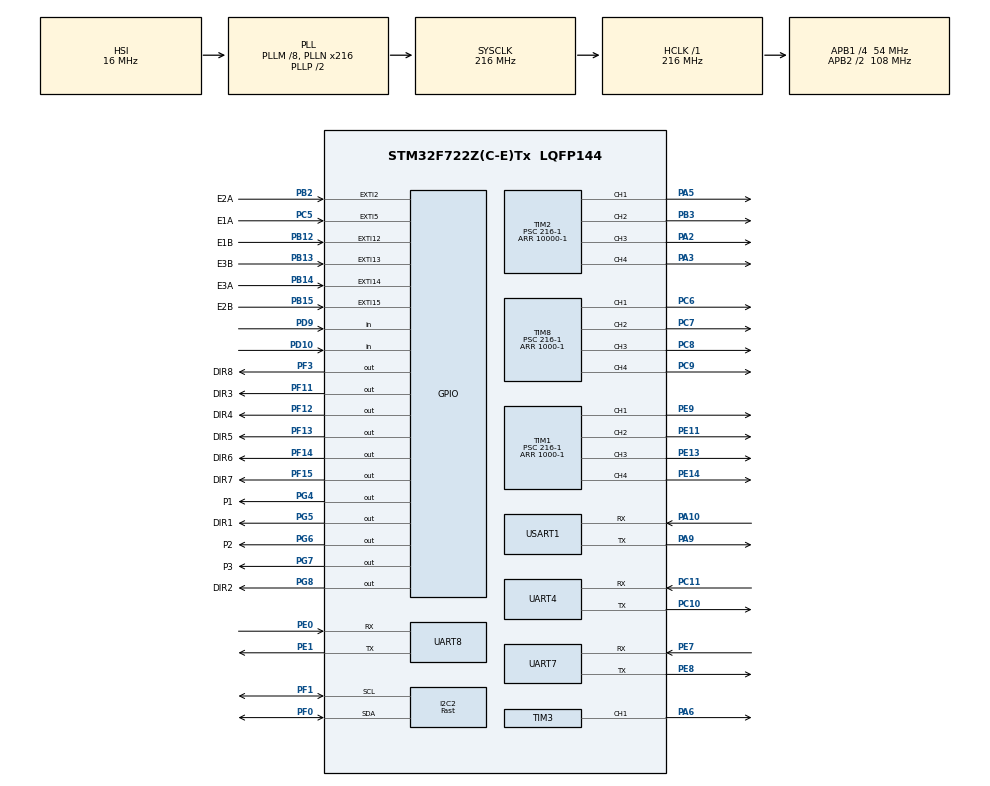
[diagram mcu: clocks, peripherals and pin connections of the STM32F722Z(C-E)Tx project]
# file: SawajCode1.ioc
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I2C2.I2C_Speed_Mode=I2C_Fast
I2C2.Timing=0x6000030D
Mcu.Family=STM32F7
Mcu.Name=STM32F722Z(C-E)Tx
Mcu.Package=LQFP144
NVIC.EXTI15_10_IRQn=true\:0\:0\:false\:false\:true\:true\:true\:true
NVIC.EXTI2_IRQn=true\:0\:0\:false\:false\:true\:true\:true\:true
NVIC.EXTI9_5_IRQn=true\:0\:0\:false\:false\:true\:true\:true\:true
NVIC.PriorityGroup=NVIC_PRIORITYGROUP_4
NVIC.UART4_IRQn=true\:0\:0\:false\:false\:true\:true\:true\:true
NVIC.UART7_IRQn=true\:0\:0\:false\:false\:true\:true\:true\:true
NVIC.UART8_IRQn=true\:0\:0\:false\:false\:true\:true\:true\:true
NVIC.USART1_IRQn=true\:0\:0\:false\:false\:true\:true\:true\:true
PA10.Mode=Asynchronous
PA10.Signal=USART1_RX
PA2.Signal=S_TIM2_CH3
PA3.Signal=S_TIM2_CH4
PA5.Signal=S_TIM2_CH1_ETR
PA6.Signal=S_TIM3_CH1
PA9.Mode=Asynchronous
PA9.Signal=USART1_TX
PB12.GPIO_Label=E1B
PB12.GPIO_ModeDefaultEXTI=GPIO_MODE_IT_RISING_FALLING
PB12.GPIO_PuPd=GPIO_PULLUP
PB12.Signal=GPXTI12
PB13.GPIO_Label=E3B
PB13.GPIO_ModeDefaultEXTI=GPIO_MODE_IT_RISING_FALLING
PB13.GPIO_PuPd=GPIO_PULLUP
PB13.Signal=GPXTI13
PB14.GPIO_Label=E3A
PB14.GPIO_ModeDefaultEXTI=GPIO_MODE_IT_RISING_FALLING
PB14.GPIO_PuPd=GPIO_PULLUP
PB14.Signal=GPXTI14
PB15.GPIO_Label=E2B
PB15.GPIO_ModeDefaultEXTI=GPIO_MODE_IT_RISING_FALLING
PB15.GPIO_PuPd=GPIO_PULLUP
PB15.Signal=GPXTI15
PB2.GPIO_Label=E2A
PB2.GPIO_ModeDefaultEXTI=GPIO_MODE_IT_RISING_FALLING
PB2.GPIO_PuPd=GPIO_PULLUP
PB2.Signal=GPXTI2
PB3.Signal=S_TIM2_CH2
PC10.Mode=Asynchronous
PC10.Signal=UART4_TX
PC11.Mode=Asynchronous
PC11.Signal=UART4_RX
PC5.GPIO_Label=E1A
PC5.GPIO_ModeDefaultEXTI=GPIO_MODE_IT_RISING_FALLING
PC5.GPIO_PuPd=GPIO_PULLUP
PC5.Signal=GPXTI5
PC6.Signal=S_TIM8_CH1
PC7.Signal=S_TIM8_CH2
PC8.Signal=S_TIM8_CH3
PC9.Signal=S_TIM8_CH4
PD10.Signal=GPIO_Input
PD9.Signal=GPIO_Input
PE0.Mode=Asynchronous
PE0.Signal=UART8_RX
PE1.Mode=Asynchronous
PE1.Signal=UART8_TX
PE11.Signal=S_TIM1_CH2
PE13.Signal=S_TIM1_CH3
PE14.Signal=S_TIM1_CH4
PE7.Mode=Asynchronous
PE7.Signal=UART7_RX
PE8.Mode=Asynchronous
PE8.Signal=UART7_TX
PE9.Signal=S_TIM1_CH1
PF0.Mode=I2C
PF0.Signal=I2C2_SDA
PF1.Mode=I2C
PF1.Signal=I2C2_SCL
PF11.GPIO_Label=DIR3
PF11.Signal=GPIO_Output
PF12.GPIO_Label=DIR4
PF12.Signal=GPIO_Output
PF13.GPIO_Label=DIR5
PF13.Signal=GPIO_Output
PF14.GPIO_Label=DIR6
PF14.Signal=GPIO_Output
PF15.GPIO_Label=DIR7
PF15.Signal=GPIO_Output
PF3.GPIO_Label=DIR8
PF3.Signal=GPIO_Output
PG4.GPIO_Label=P1
PG4.Signal=GPIO_Output
PG5.GPIO_Label=DIR1
PG5.Signal=GPIO_Output
PG6.GPIO_Label=P2
PG6.Signal=GPIO_Output
PG7.GPIO_Label=P3
PG7.Signal=GPIO_Output
PG8.GPIO_Label=DIR2
PG8.Signal=GPIO_Output
ProjectManager.HeapSize=0x200
ProjectManager.StackSize=0x400
ProjectManager.TargetToolchain=STM32CubeIDE
RCC.48MHZClocksFreq_Value=24000000
RCC.AHBFreq_Value=216000000
RCC.APB1CLKDivider=RCC_HCLK_DIV4
RCC.APB1Freq_Value=54000000
RCC.APB1TimFreq_Value=108000000
RCC.APB2CLKDivider=RCC_HCLK_DIV2
RCC.APB2Freq_Value=108000000
RCC.APB2TimFreq_Value=216000000
RCC.CortexFreq_Value=216000000
RCC.HCLKFreq_Value=216000000
RCC.HSE_VALUE=8000000
RCC.HSI_VALUE=16000000
RCC.LSE_VALUE=32768
RCC.PLLM=8
RCC.PLLMUL=RCC_PLL_MUL9
RCC.PLLN=216
RCC.PLLQ=9
RCC.PRESCALERUSB=RCC_USBCLKSOURCE_PLL_DIV1_5
RCC.SYSCLKFreq_VALUE=216000000
RCC.SYSCLKSource=RCC_SYSCLKSOURCE_PLLCLK
RCC.SYSCLKSourceVirtual=RCC_SYSCLKSOURCE_PLLCLK
RCC.USBFreq_Value=48000000
RCC.VCOOutputFreq_Value=432000000
SH.S_TIM1_CH1.0=TIM1_CH1,PWM Generation1 CH1
SH.S_TIM1_CH2.0=TIM1_CH2,PWM Generation2 CH2
SH.S_TIM1_CH3.0=TIM1_CH3,PWM Generation3 CH3
SH.S_TIM1_CH4.0=TIM1_CH4,PWM Generation4 CH4
SH.S_TIM2_CH1_ETR.0=TIM2_CH1,PWM Generation1 CH1
SH.S_TIM2_CH2.0=TIM2_CH2,PWM Generation2 CH2
SH.S_TIM2_CH3.0=TIM2_CH3,PWM Generation3 CH3
SH.S_TIM2_CH4.0=TIM2_CH4,PWM Generation4 CH4
SH.S_TIM3_CH1.0=TIM3_CH1,PWM Generation1 CH1
SH.S_TIM8_CH1.0=TIM8_CH1,PWM Generation1 CH1
SH.S_TIM8_CH2.0=TIM8_CH2,PWM Generation2 CH2
SH.S_TIM8_CH3.0=TIM8_CH3,PWM Generation3 CH3
SH.S_TIM8_CH4.0=TIM8_CH4,PWM Generation4 CH4
TIM1.Channel-PWM\ Generation1\ CH1=TIM_CHANNEL_1
TIM1.Channel-PWM\ Generation2\ CH2=TIM_CHANNEL_2
TIM1.Channel-PWM\ Generation3\ CH3=TIM_CHANNEL_3
TIM1.Channel-PWM\ Generation4\ CH4=TIM_CHANNEL_4
TIM1.Period=1000-1
TIM1.Prescaler=216-1
TIM2.Channel-PWM\ Generation1\ CH1=TIM_CHANNEL_1
TIM2.Channel-PWM\ Generation2\ CH2=TIM_CHANNEL_2
TIM2.Channel-PWM\ Generation3\ CH3=TIM_CHANNEL_3
TIM2.Channel-PWM\ Generation4\ CH4=TIM_CHANNEL_4
TIM2.Period=10000-1
TIM2.Prescaler=216-1
TIM3.Channel-PWM\ Generation1\ CH1=TIM_CHANNEL_1
TIM3.Period=10000-1
TIM3.Prescaler=216-1
TIM8.Channel-PWM\ Generation1\ CH1=TIM_CHANNEL_1
TIM8.Channel-PWM\ Generation2\ CH2=TIM_CHANNEL_2
TIM8.Channel-PWM\ Generation3\ CH3=TIM_CHANNEL_3
TIM8.Channel-PWM\ Generation4\ CH4=TIM_CHANNEL_4
TIM8.Period=1000-1
TIM8.Prescaler=216-1
USART1.VirtualMode-Asynchronous=VM_ASYNC
VP_TIM1_VS_ClockSourceINT.Mode=Internal
VP_TIM2_VS_ClockSourceINT.Mode=Internal
VP_TIM3_VS_ClockSourceINT.Mode=Internal
VP_TIM8_VS_ClockSourceINT.Mode=Internal
board=NUCLEO-F722ZE

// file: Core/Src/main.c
/* USER CODE BEGIN Header */
/**
  ******************************************************************************
  * @file           : main.c
  * @brief          : Main program body
  ******************************************************************************
  * @attention
  *
  * Copyright (c) 2025 STMicroelectronics.
  * All rights reserved.
  *
  * This software is licensed under terms that can be found in the LICENSE file
  * in the root directory of this software component.
  * If no LICENSE file comes with this software, it is provided AS-IS.
  *
  ******************************************************************************
  */
/* USER CODE END Header */
#include "main.h"

/* USER CODE BEGIN Includes */
#include "Cytron.h"
#include "WheelCalculation.h"
#include "String.h"
#include "stdlib.h"
#include <math.h>
#include <bno055_stm32.h>
#include"servo_driver.h"
/* USER CODE END Includes */

/* USER CODE BEGIN PTD */
#define HPS166_CMD_START_RANGING  {0x0A, 0x24, 0x00, 0x00, 0x00, 0x00, 0x00, 0x00, 0x0F, 0x72}
#define HPS166_RESPONSE_SIZE       15
#define RESPONSE_HEADER            0x0A

#define MAX_INTEGRAL 3.0f  // Example threshold

/* USER CODE END PTD */

I2C_HandleTypeDef hi2c2;

TIM_HandleTypeDef htim1;
TIM_HandleTypeDef htim2;
TIM_HandleTypeDef htim3;
TIM_HandleTypeDef htim8;

UART_HandleTypeDef huart4;
UART_HandleTypeDef huart7;
UART_HandleTypeDef huart8;
UART_HandleTypeDef huart1;

/* USER CODE BEGIN PV */
float heading;
float raw_heading;
uint8_t RX_BUFFER[32];
uint16_t buf_size = 0;
int pot1, pot2, pot3, but1, but2;
int dirx, diry, passbtn, shootbtn, basketbtn, dribbleturnbtn;
int m1,m2,m3;
float target_angle = 0;
float current_angle = 0;
float error, correction,r1;
int stopSignalReceived = 0;
int fatakflag=0;
float distance_from_basket = 0;
float lower_motor_speed = 0;
int lower_ms = 0;

float deadZone = 2;

float degree = 0.0;

// === IMU Control ===
bool imu_initialized = false;
float initial_heading_offset = 0.0; // To store starting heading offset
float target_heading = 0.0;          // Target heading relative to offset
float Kp = 0.2, Ki = 0.0002, Kd = 0.014;                     // Proportional gain

double dx, dy, angle_calc;
int basket_x = 4000; // Replace with actual values
int basket_y = 13770;

uint8_t MSG[35] = {'\0'};
int iX,iY,checkValue;
int up=0;
//int iX,iY;

uint8_t response1[HPS166_RESPONSE_SIZE], response2[HPS166_RESPONSE_SIZE], response3[HPS166_RESPONSE_SIZE];
volatile uint8_t data_ready1 = 0, data_ready2 = 0, data_ready3 = 0;
uint16_t distance_mm1, distance_mm2, distance_mm3;
uint16_t Tdistance_mm1, Tdistance_mm2, Tdistance_mm3;
float distance_meters1, distance_meters2, distance_meters3;
int toggleState = 0;          // Current toggle state
int previousToggleState = 0;  // Previous toggle state
uint32_t lastUpdate;

// Define stateFlags for different conditions
bool stateFlagPass = false;
bool stateFlagBasket = false;

// Variables to lock the distance values
int locked_distance_mm3 = 0;
int locked_distance_mm2 = 0;

volatile int32_t M1_count = 0;
volatile uint8_t M1_lastEncoded = 0;
volatile int32_t M2_count = 0;
volatile uint8_t M2_lastEncoded = 0;
volatile int32_t M3_count = 0;
volatile uint8_t M3_lastEncoded = 0;

int32_t last1, last2, last3;
#define PI 3.141592653589793
#define TICKS_PER_REV 2400
#define WHEEL_DIAMETER_M 0.152
#define DISTANCE_PER_TICK ((PI * WHEEL_DIAMETER_M) / TICKS_PER_REV)
#define L 0.316 // distance from robot center to wheel in meters

float posX = 0.0, posY = 0.0, theta2 = 0.0;
long last_m1 = 0, last_m2 = 0, last_m3 = 0;

int broadcastAngle = 0;

/* USER CODE END PV */

void SystemClock_Config(void);
static void MX_GPIO_Init(void);
static void MX_TIM1_Init(void);
static void MX_UART4_Init(void);
static void MX_UART7_Init(void);
static void MX_UART8_Init(void);
static void MX_USART1_UART_Init(void);
static void MX_I2C2_Init(void);
static void MX_TIM8_Init(void);
static void MX_TIM2_Init(void);
static void MX_TIM3_Init(void);
/* USER CODE BEGIN PFP */
void parseData(uint8_t *buffer, uint16_t size);
void sendContinuousRangingCommand(UART_HandleTypeDef *huart);
void processResponse(UART_HandleTypeDef *huart, uint8_t *response, uint16_t *distance_mm, float *distance_meters);
void restartReception(UART_HandleTypeDef *huart, uint8_t *response);
float get_yaw(void);
/* USER CODE END PFP */

/* USER CODE BEGIN 0 */

void sendContinuousRangingCommand(UART_HandleTypeDef *huart) {
    uint8_t startRangingCmd[] = HPS166_CMD_START_RANGING;
    HAL_UART_Transmit(huart, startRangingCmd, sizeof(startRangingCmd), HAL_MAX_DELAY);
}

void HAL_UARTEx_RxEventCallback(UART_HandleTypeDef *huart, uint16_t Size) {
	if (huart == &huart1 && Size == HPS166_RESPONSE_SIZE && response1[0] == RESPONSE_HEADER) {
	        data_ready1 = 1;
	        processResponse(huart, response1, &distance_mm1, &distance_meters1);
	        data_ready1 = 0;
	        restartReception(&huart1, response1);
	    } else if (huart == &huart4 && Size == HPS166_RESPONSE_SIZE && response2[0] == RESPONSE_HEADER) {
	        data_ready2 = 1;
	        processResponse(huart, response2, &distance_mm2, &distance_meters2);
	        data_ready2 = 0;
	        restartReception(&huart4, response2);
	    } else if (huart == &huart7 && Size == HPS166_RESPONSE_SIZE && response3[0] == RESPONSE_HEADER) {
	        data_ready3 = 1;
	        processResponse(huart, response3, &distance_mm3, &distance_meters3);
	        data_ready3 = 0;
	        restartReception(&huart7, response3);
	    } else{
	    	buf_size = Size;
	    	RX_BUFFER[buf_size] = '\0';
	    	parseData(RX_BUFFER, buf_size);
	    	HAL_UARTEx_ReceiveToIdle_IT(huart, RX_BUFFER, 32);
	    }
}

void parseData(uint8_t *buffer, uint16_t size)
{
	char *token;
	int values[6]; // Array to hold parsed integers
	int index = 0;

	// Tokenize the buffer using comma as a delimiter
	token = strtok((char *)buffer, ",");
	while (token != NULL && index < 6)
	{
		values[index++] = atoi(token);
		token = strtok(NULL, ",");
	}

	// Assign values to corresponding variables (ensure the order matches)
	if (index >= 6) // Ensure enough data is received
	{
		dirx = values[0];
		diry = values[1];
		basketbtn = values[2];
		shootbtn = values[3];
		passbtn = values[4];
		dribbleturnbtn = values[5];
//		xtraRotate = values[6];
//		broadcastAngle = values[7];

	}
}

float get_yaw(void)
{
    bno055_vector_t euler = bno055_getVectorEuler();
    float yaw = euler.x;

    if (yaw > 180) yaw -= 360;
    if (yaw < -180) yaw += 360;
    return yaw;
}

void processResponse(UART_HandleTypeDef *huart, uint8_t *response, uint16_t *distance_mm, float *distance_meters) {
    *distance_mm = (response[5] << 8) | response[6];
    *distance_meters = *distance_mm / 1000.0;
}

void restartReception(UART_HandleTypeDef *huart, uint8_t *response) {
    HAL_UARTEx_ReceiveToIdle_IT(huart, response, HPS166_RESPONSE_SIZE);
}

/* USER CODE END 0 */

int main(void)
{

  /* MCU Configuration--------------------------------------------------------*/

  /* Reset of all peripherals, Initializes the Flash interface and the Systick. */
  HAL_Init();

  /* Configure the system clock */
  SystemClock_Config();

  /* Initialize all configured peripherals */
  MX_GPIO_Init();
  MX_TIM1_Init();
  MX_UART4_Init();
  MX_UART7_Init();
  MX_UART8_Init();
  MX_USART1_UART_Init();
  MX_I2C2_Init();
  MX_TIM8_Init();
  MX_TIM2_Init();
  MX_TIM3_Init();
  /* USER CODE BEGIN 2 */
  HAL_UARTEx_ReceiveToIdle_IT(&huart8, RX_BUFFER, 32);

  restartReception(&huart1, response1);
  restartReception(&huart4, response2);
  restartReception(&huart7, response3);

  sendContinuousRangingCommand(&huart1);
  sendContinuousRangingCommand(&huart4);
  sendContinuousRangingCommand(&huart7);

  bno055_assignI2C(&hi2c2);
  bno055_setup();
  bno055_setOperationModeNDOF();

  CytronMotor_t motor1;
  CytronMotor_t motor2;
  CytronMotor_t motor3;
  CytronMotor_t motor4;

  CytronMotor_t shooterM1;
  CytronMotor_t shooterM2;

  CytronMotor_t tandomM1;
  CytronMotor_t tandomM2;

  CytronMotor_Init(&motor1, &htim8, TIM_CHANNEL_4, GPIOF, GPIO_PIN_14);
  CytronMotor_Init(&motor2, &htim8, TIM_CHANNEL_3, GPIOF, GPIO_PIN_3);
  CytronMotor_Init(&motor3, &htim8, TIM_CHANNEL_1, GPIOF, GPIO_PIN_15);
  CytronMotor_Init(&motor4, &htim8, TIM_CHANNEL_2, GPIOF, GPIO_PIN_13);

  CytronMotor_Init(&shooterM1, &htim1, TIM_CHANNEL_4, GPIOF, GPIO_PIN_11);
  CytronMotor_Init(&shooterM2, &htim1, TIM_CHANNEL_1, GPIOF, GPIO_PIN_12);

  CytronMotor_Init(&tandomM1, &htim1, TIM_CHANNEL_3, GPIOG, GPIO_PIN_5);
  CytronMotor_Init(&tandomM2, &htim1, TIM_CHANNEL_2, GPIOG, GPIO_PIN_8);

  Servo_t fatak;
  Servo_Init(&fatak, &htim2, TIM_CHANNEL_1);

  /* USER CODE END 2 */

  /* Infinite loop */
  /* USER CODE BEGIN WHILE */
  initial_heading_offset = get_yaw(); // Set target angle as current angle
  target_heading = 0.0; // start at zero relative heading
  degree = target_heading;
  imu_initialized = true;

//  uint32_t lastUpdate = 0;

//  CytronMotor_Speed(&shooterM1, -800);
//  CytronMotor_Speed(&shooterM2, 960);
//  HAL_Delay(3000);
//  CytronMotor_Speed(&shooterM1, 0);
//  CytronMotor_Speed(&shooterM2, 0);
Servo_SetAngle(&fatak, 90);   // Move to 90°
  while (1)
  {

	HAL_Delay(100);  // or timer-based update

  	sprintf(MSG,"%d,%d,%d\n",distance_mm3,7600,broadcastAngle);
 	HAL_UART_Transmit(&huart8, MSG, sizeof(MSG), 100);

	uint32_t currentTick = HAL_GetTick();
      if (currentTick - lastUpdate >= 100)
      {
        lastUpdate = currentTick;

	    // Check for emergency stop signal from the controller
//        if (shootbtn) // Replace with actual function to detect stop signal
//        {
//            stopSignalReceived = 1;
//        }
//
//        if (stopSignalReceived)
//        {
//        	m1=0, m2=0, m3=0;
//            // Set all motor speeds to zero
//            CytronMotor_Speed(&motor1, m1);
//            CytronMotor_Speed(&motor2, m2);
//            CytronMotor_Speed(&motor3, m3);
//            continue; // Skip further processing
//        }

	        raw_heading = get_yaw();
	        float current_heading = raw_heading - initial_heading_offset;

	        // Normalize heading to [-180, 180]
	        if (current_heading > 180) current_heading -= 360;
	        if (current_heading < -180) current_heading += 360;
	        broadcastAngle  = target_heading;
	        if ((passbtn > 1450 && passbtn <= 1550) && (dribbleturnbtn < 1550 && dribbleturnbtn > 1450) && (basketbtn == 0)) {
	            target_heading = 0.0;
	            stateFlagPass = false;
	            stateFlagBasket = false;
//	      	    Servo_SetAngle(&fatak, 90);   // Move to 90°

	            if(up==1){
//		            CytronMotor_Speed(&tandomM1,-400);
//		            CytronMotor_Speed(&tandomM2,-400);
//		            HAL_Delay(500);
//		            CytronMotor_Speed(&tandomM1,0);
//		            CytronMotor_Speed(&tandomM2,0);
		            up=0;
	            }

	        } else if ((passbtn < 1450) && (basketbtn == 0)) {
	            // Check if the stateFlag is false
	            if (!stateFlagPass) {
	                // Lock the variable values
	                locked_distance_mm3 = distance_mm3;	//X lidar
	                locked_distance_mm2 = distance_mm2; //Y lidar
	                stateFlagPass = true;
	            }
	            up=1;
//	            CytronMotor_Speed(&tandomM1,800);
//	            CytronMotor_Speed(&tandomM2,800);
//	            HAL_Delay(700);
//	            CytronMotor_Speed(&tandomM1,50);
//	            CytronMotor_Speed(&tandomM2,50);

	        } else if ((passbtn > 1550) && (basketbtn == 0)) {
	            // Check if the stateFlag is false
	            if (!stateFlagPass) {
	                // Lock the variable values
	                locked_distance_mm3 = distance_mm3;
	                locked_distance_mm2 = distance_mm2;
	                stateFlagPass = true;
	            }
//	            target_heading = broadcastAngle;

	        } else if (basketbtn ) {
	            // Check if the stateFlag is false
	            if (!stateFlagBasket) {
	                // Lock the variable values
	                locked_distance_mm3 = distance_mm3;
	                locked_distance_mm2 = distance_mm2;
	                stateFlagBasket = true;
	            }

	            // Calculate heading using locked values
	            int dx = basket_x - locked_distance_mm3 + 100 ;
	            int dy = basket_y - 7800;
	            angle_calc = atan2(dx, dy) * 180.0 / M_PI;
	            angle_calc = fmod((angle_calc + 360.0), 360.0);
	            target_heading = angle_calc - 5;
	            distance_from_basket = sqrt((dx*dx) +(dy*dy));
		        broadcastAngle  = target_heading;
	        }
//	        else {
//
//	        }

	        if(shootbtn==1 )
	        {
	          lower_motor_speed = 1000 * (1 - pow(M_E, (-0.39 * (distance_from_basket / 1000))));
//	       	  lower_motor_speed = 1000 * (1 - pow(M_E, (-0.475 * 6))); //0.48 for 3-4 mtrs
	          lower_ms = (int)lower_motor_speed;
	          CytronMotor_Speed(&shooterM1, -lower_ms);
	          CytronMotor_Speed(&shooterM2, (0.82*lower_ms));
//	        	CytronMotor_Speed(&shooterM1,-1000);
//				CytronMotor_Speed(&shooterM2,1000);
	          HAL_Delay(4000);
	          if(fatakflag==0)
	          {
	    	  Servo_SetAngle(&fatak, 32);
	    	  fatakflag=1;
	          }

	        }
	        else if(shootbtn==0)
	        {
		          CytronMotor_Speed(&shooterM1, 0);
		          CytronMotor_Speed(&shooterM2, 0);
		          Servo_SetAngle(&fatak, 90);
		          fatakflag=0;
	        }
	        if((dribbleturnbtn >1800 || dribbleturnbtn < 1400) && (passbtn>=1450 && passbtn<=1550) )
	        {
	        	target_heading = 90.00;
	        }
	          float error = target_heading - current_heading;
	          if (error > 180) error -= 360;
	          if (error < -180) error += 360;
	          // Integral component
	          static float integral = 0;  // Retain value between iterations
	                  // Accumulate error over time
	          static float previous_error = 0;
	          static uint32_t lastPIDUpdate = 0;

	          uint32_t currentTime = HAL_GetTick();
	          float dt = (currentTime - lastPIDUpdate)/ 1000.0f;
	          lastPIDUpdate = currentTime;
	          float derivative = (error - previous_error) / dt;
	          previous_error = error;

	          integral += error*dt;

	          // Proportional and integral control
	          r1 = Kp * error + Ki * integral + Kd* derivative;

	          // Optional: Anti-windup for integral component
	          if (integral > MAX_INTEGRAL) integral = MAX_INTEGRAL;
	          if (integral < -MAX_INTEGRAL) integral = -MAX_INTEGRAL;
	          degree = -target_heading;

	        calculateWheelSpeeds(dirx, diry, &m1, &m2, &m3, &r1, &degree);
	        CytronMotor_Speed(&motor1, m1);
	        CytronMotor_Speed(&motor2, m2);
	        CytronMotor_Speed(&motor3, m3);
	      }
    /* USER CODE END WHILE */

  }
}

void SystemClock_Config(void)
{
  RCC_OscInitTypeDef RCC_OscInitStruct = {0};
  RCC_ClkInitTypeDef RCC_ClkInitStruct = {0};

  /** Configure the main internal regulator output voltage
  */
  __HAL_RCC_PWR_CLK_ENABLE();
  __HAL_PWR_VOLTAGESCALING_CONFIG(PWR_REGULATOR_VOLTAGE_SCALE1);

  /** Initializes the RCC Oscillators according to the specified parameters
  * in the RCC_OscInitTypeDef structure.
  */
  RCC_OscInitStruct.OscillatorType = RCC_OSCILLATORTYPE_HSI;
  RCC_OscInitStruct.HSIState = RCC_HSI_ON;
  RCC_OscInitStruct.HSICalibrationValue = RCC_HSICALIBRATION_DEFAULT;
  RCC_OscInitStruct.PLL.PLLState = RCC_PLL_ON;
  RCC_OscInitStruct.PLL.PLLSource = RCC_PLLSOURCE_HSI;
  RCC_OscInitStruct.PLL.PLLM = 8;
  RCC_OscInitStruct.PLL.PLLN = 216;
  RCC_OscInitStruct.PLL.PLLP = RCC_PLLP_DIV2;
  RCC_OscInitStruct.PLL.PLLQ = 9;
  if (HAL_RCC_OscConfig(&RCC_OscInitStruct) != HAL_OK)
  {
    Error_Handler();
  }

  /** Activate the Over-Drive mode
  */
  if (HAL_PWREx_EnableOverDrive() != HAL_OK)
  {
    Error_Handler();
  }

  /** Initializes the CPU, AHB and APB buses clocks
  */
  RCC_ClkInitStruct.ClockType = RCC_CLOCKTYPE_HCLK|RCC_CLOCKTYPE_SYSCLK
                              |RCC_CLOCKTYPE_PCLK1|RCC_CLOCKTYPE_PCLK2;
  RCC_ClkInitStruct.SYSCLKSource = RCC_SYSCLKSOURCE_PLLCLK;
  RCC_ClkInitStruct.AHBCLKDivider = RCC_SYSCLK_DIV1;
  RCC_ClkInitStruct.APB1CLKDivider = RCC_HCLK_DIV4;
  RCC_ClkInitStruct.APB2CLKDivider = RCC_HCLK_DIV2;

  if (HAL_RCC_ClockConfig(&RCC_ClkInitStruct, FLASH_LATENCY_7) != HAL_OK)
  {
    Error_Handler();
  }
}

static void MX_I2C2_Init(void)
{

  hi2c2.Instance = I2C2;
  hi2c2.Init.Timing = 0x6000030D;
  hi2c2.Init.OwnAddress1 = 0;
  hi2c2.Init.AddressingMode = I2C_ADDRESSINGMODE_7BIT;
  hi2c2.Init.DualAddressMode = I2C_DUALADDRESS_DISABLE;
  hi2c2.Init.OwnAddress2 = 0;
  hi2c2.Init.OwnAddress2Masks = I2C_OA2_NOMASK;
  hi2c2.Init.GeneralCallMode = I2C_GENERALCALL_DISABLE;
  hi2c2.Init.NoStretchMode = I2C_NOSTRETCH_DISABLE;
  if (HAL_I2C_Init(&hi2c2) != HAL_OK)
  {
    Error_Handler();
  }

  /** Configure Analogue filter
  */
  if (HAL_I2CEx_ConfigAnalogFilter(&hi2c2, I2C_ANALOGFILTER_ENABLE) != HAL_OK)
  {
    Error_Handler();
  }

  /** Configure Digital filter
  */
  if (HAL_I2CEx_ConfigDigitalFilter(&hi2c2, 0) != HAL_OK)
  {
    Error_Handler();
  }

}

static void MX_TIM1_Init(void)
{

  TIM_ClockConfigTypeDef sClockSourceConfig = {0};
  TIM_MasterConfigTypeDef sMasterConfig = {0};
  TIM_OC_InitTypeDef sConfigOC = {0};
  TIM_BreakDeadTimeConfigTypeDef sBreakDeadTimeConfig = {0};

  htim1.Instance = TIM1;
  htim1.Init.Prescaler = 216-1;
  htim1.Init.CounterMode = TIM_COUNTERMODE_UP;
  htim1.Init.Period = 1000-1;
  htim1.Init.ClockDivision = TIM_CLOCKDIVISION_DIV1;
  htim1.Init.RepetitionCounter = 0;
  htim1.Init.AutoReloadPreload = TIM_AUTORELOAD_PRELOAD_DISABLE;
  if (HAL_TIM_Base_Init(&htim1) != HAL_OK)
  {
    Error_Handler();
  }
  sClockSourceConfig.ClockSource = TIM_CLOCKSOURCE_INTERNAL;
  if (HAL_TIM_ConfigClockSource(&htim1, &sClockSourceConfig) != HAL_OK)
  {
    Error_Handler();
  }
  if (HAL_TIM_PWM_Init(&htim1) != HAL_OK)
  {
    Error_Handler();
  }
  sMasterConfig.MasterOutputTrigger = TIM_TRGO_RESET;
  sMasterConfig.MasterOutputTrigger2 = TIM_TRGO2_RESET;
  sMasterConfig.MasterSlaveMode = TIM_MASTERSLAVEMODE_DISABLE;
  if (HAL_TIMEx_MasterConfigSynchronization(&htim1, &sMasterConfig) != HAL_OK)
  {
    Error_Handler();
  }
  sConfigOC.OCMode = TIM_OCMODE_PWM1;
  sConfigOC.Pulse = 0;
  sConfigOC.OCPolarity = TIM_OCPOLARITY_HIGH;
  sConfigOC.OCNPolarity = TIM_OCNPOLARITY_HIGH;
  sConfigOC.OCFastMode = TIM_OCFAST_DISABLE;
  sConfigOC.OCIdleState = TIM_OCIDLESTATE_RESET;
  sConfigOC.OCNIdleState = TIM_OCNIDLESTATE_RESET;
  if (HAL_TIM_PWM_ConfigChannel(&htim1, &sConfigOC, TIM_CHANNEL_1) != HAL_OK)
  {
    Error_Handler();
  }
  if (HAL_TIM_PWM_ConfigChannel(&htim1, &sConfigOC, TIM_CHANNEL_2) != HAL_OK)
  {
    Error_Handler();
  }
  if (HAL_TIM_PWM_ConfigChannel(&htim1, &sConfigOC, TIM_CHANNEL_3) != HAL_OK)
  {
    Error_Handler();
  }
  if (HAL_TIM_PWM_ConfigChannel(&htim1, &sConfigOC, TIM_CHANNEL_4) != HAL_OK)
  {
    Error_Handler();
  }
  sBreakDeadTimeConfig.OffStateRunMode = TIM_OSSR_DISABLE;
  sBreakDeadTimeConfig.OffStateIDLEMode = TIM_OSSI_DISABLE;
  sBreakDeadTimeConfig.LockLevel = TIM_LOCKLEVEL_OFF;
  sBreakDeadTimeConfig.DeadTime = 0;
  sBreakDeadTimeConfig.BreakState = TIM_BREAK_DISABLE;
  sBreakDeadTimeConfig.BreakPolarity = TIM_BREAKPOLARITY_HIGH;
  sBreakDeadTimeConfig.BreakFilter = 0;
  sBreakDeadTimeConfig.Break2State = TIM_BREAK2_DISABLE;
  sBreakDeadTimeConfig.Break2Polarity = TIM_BREAK2POLARITY_HIGH;
  sBreakDeadTimeConfig.Break2Filter = 0;
  sBreakDeadTimeConfig.AutomaticOutput = TIM_AUTOMATICOUTPUT_DISABLE;
  if (HAL_TIMEx_ConfigBreakDeadTime(&htim1, &sBreakDeadTimeConfig) != HAL_OK)
  {
    Error_Handler();
  }
  HAL_TIM_MspPostInit(&htim1);

}

static void MX_TIM2_Init(void)
{

  TIM_ClockConfigTypeDef sClockSourceConfig = {0};
  TIM_MasterConfigTypeDef sMasterConfig = {0};
  TIM_OC_InitTypeDef sConfigOC = {0};

  htim2.Instance = TIM2;
  htim2.Init.Prescaler = 216-1;
  htim2.Init.CounterMode = TIM_COUNTERMODE_UP;
  htim2.Init.Period = 10000-1;
  htim2.Init.ClockDivision = TIM_CLOCKDIVISION_DIV1;
  htim2.Init.AutoReloadPreload = TIM_AUTORELOAD_PRELOAD_DISABLE;
  if (HAL_TIM_Base_Init(&htim2) != HAL_OK)
  {
    Error_Handler();
  }
  sClockSourceConfig.ClockSource = TIM_CLOCKSOURCE_INTERNAL;
  if (HAL_TIM_ConfigClockSource(&htim2, &sClockSourceConfig) != HAL_OK)
  {
    Error_Handler();
  }
  if (HAL_TIM_PWM_Init(&htim2) != HAL_OK)
  {
    Error_Handler();
  }
  sMasterConfig.MasterOutputTrigger = TIM_TRGO_RESET;
  sMasterConfig.MasterSlaveMode = TIM_MASTERSLAVEMODE_DISABLE;
  if (HAL_TIMEx_MasterConfigSynchronization(&htim2, &sMasterConfig) != HAL_OK)
  {
    Error_Handler();
  }
  sConfigOC.OCMode = TIM_OCMODE_PWM1;
  sConfigOC.Pulse = 0;
  sConfigOC.OCPolarity = TIM_OCPOLARITY_HIGH;
  sConfigOC.OCFastMode = TIM_OCFAST_DISABLE;
  if (HAL_TIM_PWM_ConfigChannel(&htim2, &sConfigOC, TIM_CHANNEL_1) != HAL_OK)
  {
    Error_Handler();
  }
  if (HAL_TIM_PWM_ConfigChannel(&htim2, &sConfigOC, TIM_CHANNEL_2) != HAL_OK)
  {
    Error_Handler();
  }
  if (HAL_TIM_PWM_ConfigChannel(&htim2, &sConfigOC, TIM_CHANNEL_3) != HAL_OK)
  {
    Error_Handler();
  }
  if (HAL_TIM_PWM_ConfigChannel(&htim2, &sConfigOC, TIM_CHANNEL_4) != HAL_OK)
  {
    Error_Handler();
  }
  HAL_TIM_MspPostInit(&htim2);

}

static void MX_TIM3_Init(void)
{

  TIM_ClockConfigTypeDef sClockSourceConfig = {0};
  TIM_MasterConfigTypeDef sMasterConfig = {0};
  TIM_OC_InitTypeDef sConfigOC = {0};

  htim3.Instance = TIM3;
  htim3.Init.Prescaler = 216-1;
  htim3.Init.CounterMode = TIM_COUNTERMODE_UP;
  htim3.Init.Period = 10000-1;
  htim3.Init.ClockDivision = TIM_CLOCKDIVISION_DIV1;
  htim3.Init.AutoReloadPreload = TIM_AUTORELOAD_PRELOAD_DISABLE;
  if (HAL_TIM_Base_Init(&htim3) != HAL_OK)
  {
    Error_Handler();
  }
  sClockSourceConfig.ClockSource = TIM_CLOCKSOURCE_INTERNAL;
  if (HAL_TIM_ConfigClockSource(&htim3, &sClockSourceConfig) != HAL_OK)
  {
    Error_Handler();
  }
  if (HAL_TIM_PWM_Init(&htim3) != HAL_OK)
  {
    Error_Handler();
  }
  sMasterConfig.MasterOutputTrigger = TIM_TRGO_RESET;
  sMasterConfig.MasterSlaveMode = TIM_MASTERSLAVEMODE_DISABLE;
  if (HAL_TIMEx_MasterConfigSynchronization(&htim3, &sMasterConfig) != HAL_OK)
  {
    Error_Handler();
  }
  sConfigOC.OCMode = TIM_OCMODE_PWM1;
  sConfigOC.Pulse = 0;
  sConfigOC.OCPolarity = TIM_OCPOLARITY_HIGH;
  sConfigOC.OCFastMode = TIM_OCFAST_DISABLE;
  if (HAL_TIM_PWM_ConfigChannel(&htim3, &sConfigOC, TIM_CHANNEL_1) != HAL_OK)
  {
    Error_Handler();
  }
  HAL_TIM_MspPostInit(&htim3);

}

static void MX_TIM8_Init(void)
{

  TIM_ClockConfigTypeDef sClockSourceConfig = {0};
  TIM_MasterConfigTypeDef sMasterConfig = {0};
  TIM_OC_InitTypeDef sConfigOC = {0};
  TIM_BreakDeadTimeConfigTypeDef sBreakDeadTimeConfig = {0};

  htim8.Instance = TIM8;
  htim8.Init.Prescaler = 216-1;
  htim8.Init.CounterMode = TIM_COUNTERMODE_UP;
  htim8.Init.Period = 1000-1;
  htim8.Init.ClockDivision = TIM_CLOCKDIVISION_DIV1;
  htim8.Init.RepetitionCounter = 0;
  htim8.Init.AutoReloadPreload = TIM_AUTORELOAD_PRELOAD_DISABLE;
  if (HAL_TIM_Base_Init(&htim8) != HAL_OK)
  {
    Error_Handler();
  }
  sClockSourceConfig.ClockSource = TIM_CLOCKSOURCE_INTERNAL;
  if (HAL_TIM_ConfigClockSource(&htim8, &sClockSourceConfig) != HAL_OK)
  {
    Error_Handler();
  }
  if (HAL_TIM_PWM_Init(&htim8) != HAL_OK)
  {
    Error_Handler();
  }
  sMasterConfig.MasterOutputTrigger = TIM_TRGO_RESET;
  sMasterConfig.MasterOutputTrigger2 = TIM_TRGO2_RESET;
  sMasterConfig.MasterSlaveMode = TIM_MASTERSLAVEMODE_DISABLE;
  if (HAL_TIMEx_MasterConfigSynchronization(&htim8, &sMasterConfig) != HAL_OK)
  {
    Error_Handler();
  }
  sConfigOC.OCMode = TIM_OCMODE_PWM1;
  sConfigOC.Pulse = 0;
  sConfigOC.OCPolarity = TIM_OCPOLARITY_HIGH;
  sConfigOC.OCNPolarity = TIM_OCNPOLARITY_HIGH;
  sConfigOC.OCFastMode = TIM_OCFAST_DISABLE;
  sConfigOC.OCIdleState = TIM_OCIDLESTATE_RESET;
  sConfigOC.OCNIdleState = TIM_OCNIDLESTATE_RESET;
  if (HAL_TIM_PWM_ConfigChannel(&htim8, &sConfigOC, TIM_CHANNEL_1) != HAL_OK)
  {
    Error_Handler();
  }
  if (HAL_TIM_PWM_ConfigChannel(&htim8, &sConfigOC, TIM_CHANNEL_2) != HAL_OK)
  {
    Error_Handler();
  }
  if (HAL_TIM_PWM_ConfigChannel(&htim8, &sConfigOC, TIM_CHANNEL_3) != HAL_OK)
  {
    Error_Handler();
  }
  if (HAL_TIM_PWM_ConfigChannel(&htim8, &sConfigOC, TIM_CHANNEL_4) != HAL_OK)
  {
    Error_Handler();
  }
  sBreakDeadTimeConfig.OffStateRunMode = TIM_OSSR_DISABLE;
  sBreakDeadTimeConfig.OffStateIDLEMode = TIM_OSSI_DISABLE;
  sBreakDeadTimeConfig.LockLevel = TIM_LOCKLEVEL_OFF;
  sBreakDeadTimeConfig.DeadTime = 0;
  sBreakDeadTimeConfig.BreakState = TIM_BREAK_DISABLE;
  sBreakDeadTimeConfig.BreakPolarity = TIM_BREAKPOLARITY_HIGH;
  sBreakDeadTimeConfig.BreakFilter = 0;
  sBreakDeadTimeConfig.Break2State = TIM_BREAK2_DISABLE;
  sBreakDeadTimeConfig.Break2Polarity = TIM_BREAK2POLARITY_HIGH;
  sBreakDeadTimeConfig.Break2Filter = 0;
  sBreakDeadTimeConfig.AutomaticOutput = TIM_AUTOMATICOUTPUT_DISABLE;
  if (HAL_TIMEx_ConfigBreakDeadTime(&htim8, &sBreakDeadTimeConfig) != HAL_OK)
  {
    Error_Handler();
  }
  HAL_TIM_MspPostInit(&htim8);

}

static void MX_UART4_Init(void)
{

  huart4.Instance = UART4;
  huart4.Init.BaudRate = 115200;
  huart4.Init.WordLength = UART_WORDLENGTH_8B;
  huart4.Init.StopBits = UART_STOPBITS_1;
  huart4.Init.Parity = UART_PARITY_NONE;
  huart4.Init.Mode = UART_MODE_TX_RX;
  huart4.Init.HwFlowCtl = UART_HWCONTROL_NONE;
  huart4.Init.OverSampling = UART_OVERSAMPLING_16;
  huart4.Init.OneBitSampling = UART_ONE_BIT_SAMPLE_DISABLE;
  huart4.AdvancedInit.AdvFeatureInit = UART_ADVFEATURE_NO_INIT;
  if (HAL_UART_Init(&huart4) != HAL_OK)
  {
    Error_Handler();
  }

}

static void MX_UART7_Init(void)
{

  huart7.Instance = UART7;
  huart7.Init.BaudRate = 115200;
  huart7.Init.WordLength = UART_WORDLENGTH_8B;
  huart7.Init.StopBits = UART_STOPBITS_1;
  huart7.Init.Parity = UART_PARITY_NONE;
  huart7.Init.Mode = UART_MODE_TX_RX;
  huart7.Init.HwFlowCtl = UART_HWCONTROL_NONE;
  huart7.Init.OverSampling = UART_OVERSAMPLING_16;
  huart7.Init.OneBitSampling = UART_ONE_BIT_SAMPLE_DISABLE;
  huart7.AdvancedInit.AdvFeatureInit = UART_ADVFEATURE_NO_INIT;
  if (HAL_UART_Init(&huart7) != HAL_OK)
  {
    Error_Handler();
  }

}

static void MX_UART8_Init(void)
{

  huart8.Instance = UART8;
  huart8.Init.BaudRate = 115200;
  huart8.Init.WordLength = UART_WORDLENGTH_8B;
  huart8.Init.StopBits = UART_STOPBITS_1;
  huart8.Init.Parity = UART_PARITY_NONE;
  huart8.Init.Mode = UART_MODE_TX_RX;
  huart8.Init.HwFlowCtl = UART_HWCONTROL_NONE;
  huart8.Init.OverSampling = UART_OVERSAMPLING_16;
  huart8.Init.OneBitSampling = UART_ONE_BIT_SAMPLE_DISABLE;
  huart8.AdvancedInit.AdvFeatureInit = UART_ADVFEATURE_NO_INIT;
  if (HAL_UART_Init(&huart8) != HAL_OK)
  {
    Error_Handler();
  }

}

static void MX_USART1_UART_Init(void)
{

  huart1.Instance = USART1;
  huart1.Init.BaudRate = 115200;
  huart1.Init.WordLength = UART_WORDLENGTH_8B;
  huart1.Init.StopBits = UART_STOPBITS_1;
  huart1.Init.Parity = UART_PARITY_NONE;
  huart1.Init.Mode = UART_MODE_TX_RX;
  huart1.Init.HwFlowCtl = UART_HWCONTROL_NONE;
  huart1.Init.OverSampling = UART_OVERSAMPLING_16;
  huart1.Init.OneBitSampling = UART_ONE_BIT_SAMPLE_DISABLE;
  huart1.AdvancedInit.AdvFeatureInit = UART_ADVFEATURE_NO_INIT;
  if (HAL_UART_Init(&huart1) != HAL_OK)
  {
    Error_Handler();
  }

}

static void MX_GPIO_Init(void)
{
  GPIO_InitTypeDef GPIO_InitStruct = {0};

  /* GPIO Ports Clock Enable */
  __HAL_RCC_GPIOF_CLK_ENABLE();
  __HAL_RCC_GPIOA_CLK_ENABLE();
  __HAL_RCC_GPIOC_CLK_ENABLE();
  __HAL_RCC_GPIOB_CLK_ENABLE();
  __HAL_RCC_GPIOE_CLK_ENABLE();
  __HAL_RCC_GPIOD_CLK_ENABLE();
  __HAL_RCC_GPIOG_CLK_ENABLE();

  /*Configure GPIO pin Output Level */
  HAL_GPIO_WritePin(GPIOF, DIR8_Pin|DIR3_Pin|DIR4_Pin|DIR5_Pin
                          |DIR6_Pin|DIR7_Pin, GPIO_PIN_RESET);

  /*Configure GPIO pin Output Level */
  HAL_GPIO_WritePin(GPIOG, P1_Pin|DIR1_Pin|P2_Pin|P3_Pin
                          |DIR2_Pin, GPIO_PIN_RESET);

  /*Configure GPIO pins : DIR8_Pin DIR3_Pin DIR4_Pin DIR5_Pin
                           DIR6_Pin DIR7_Pin */
  GPIO_InitStruct.Pin = DIR8_Pin|DIR3_Pin|DIR4_Pin|DIR5_Pin
                          |DIR6_Pin|DIR7_Pin;
  GPIO_InitStruct.Mode = GPIO_MODE_OUTPUT_PP;
  GPIO_InitStruct.Pull = GPIO_NOPULL;
  GPIO_InitStruct.Speed = GPIO_SPEED_FREQ_LOW;
  HAL_GPIO_Init(GPIOF, &GPIO_InitStruct);

  /*Configure GPIO pin : E1A_Pin */
  GPIO_InitStruct.Pin = E1A_Pin;
  GPIO_InitStruct.Mode = GPIO_MODE_IT_RISING_FALLING;
  GPIO_InitStruct.Pull = GPIO_PULLUP;
  HAL_GPIO_Init(E1A_GPIO_Port, &GPIO_InitStruct);

  /*Configure GPIO pins : E2A_Pin E1B_Pin E3B_Pin E3A_Pin
                           E2B_Pin */
  GPIO_InitStruct.Pin = E2A_Pin|E1B_Pin|E3B_Pin|E3A_Pin
                          |E2B_Pin;
  GPIO_InitStruct.Mode = GPIO_MODE_IT_RISING_FALLING;
  GPIO_InitStruct.Pull = GPIO_PULLUP;
  HAL_GPIO_Init(GPIOB, &GPIO_InitStruct);

  /*Configure GPIO pins : PD9 PD10 */
  GPIO_InitStruct.Pin = GPIO_PIN_9|GPIO_PIN_10;
  GPIO_InitStruct.Mode = GPIO_MODE_INPUT;
  GPIO_InitStruct.Pull = GPIO_NOPULL;
  HAL_GPIO_Init(GPIOD, &GPIO_InitStruct);

  /*Configure GPIO pins : P1_Pin DIR1_Pin P2_Pin P3_Pin
                           DIR2_Pin */
  GPIO_InitStruct.Pin = P1_Pin|DIR1_Pin|P2_Pin|P3_Pin
                          |DIR2_Pin;
  GPIO_InitStruct.Mode = GPIO_MODE_OUTPUT_PP;
  GPIO_InitStruct.Pull = GPIO_NOPULL;
  GPIO_InitStruct.Speed = GPIO_SPEED_FREQ_LOW;
  HAL_GPIO_Init(GPIOG, &GPIO_InitStruct);

  /* EXTI interrupt init*/
  HAL_NVIC_SetPriority(EXTI2_IRQn, 0, 0);
  HAL_NVIC_EnableIRQ(EXTI2_IRQn);

  HAL_NVIC_SetPriority(EXTI9_5_IRQn, 0, 0);
  HAL_NVIC_EnableIRQ(EXTI9_5_IRQn);

  HAL_NVIC_SetPriority(EXTI15_10_IRQn, 0, 0);
  HAL_NVIC_EnableIRQ(EXTI15_10_IRQn);

}

void Error_Handler(void)
{
  __disable_irq();
  while (1)
  {
  }
}
